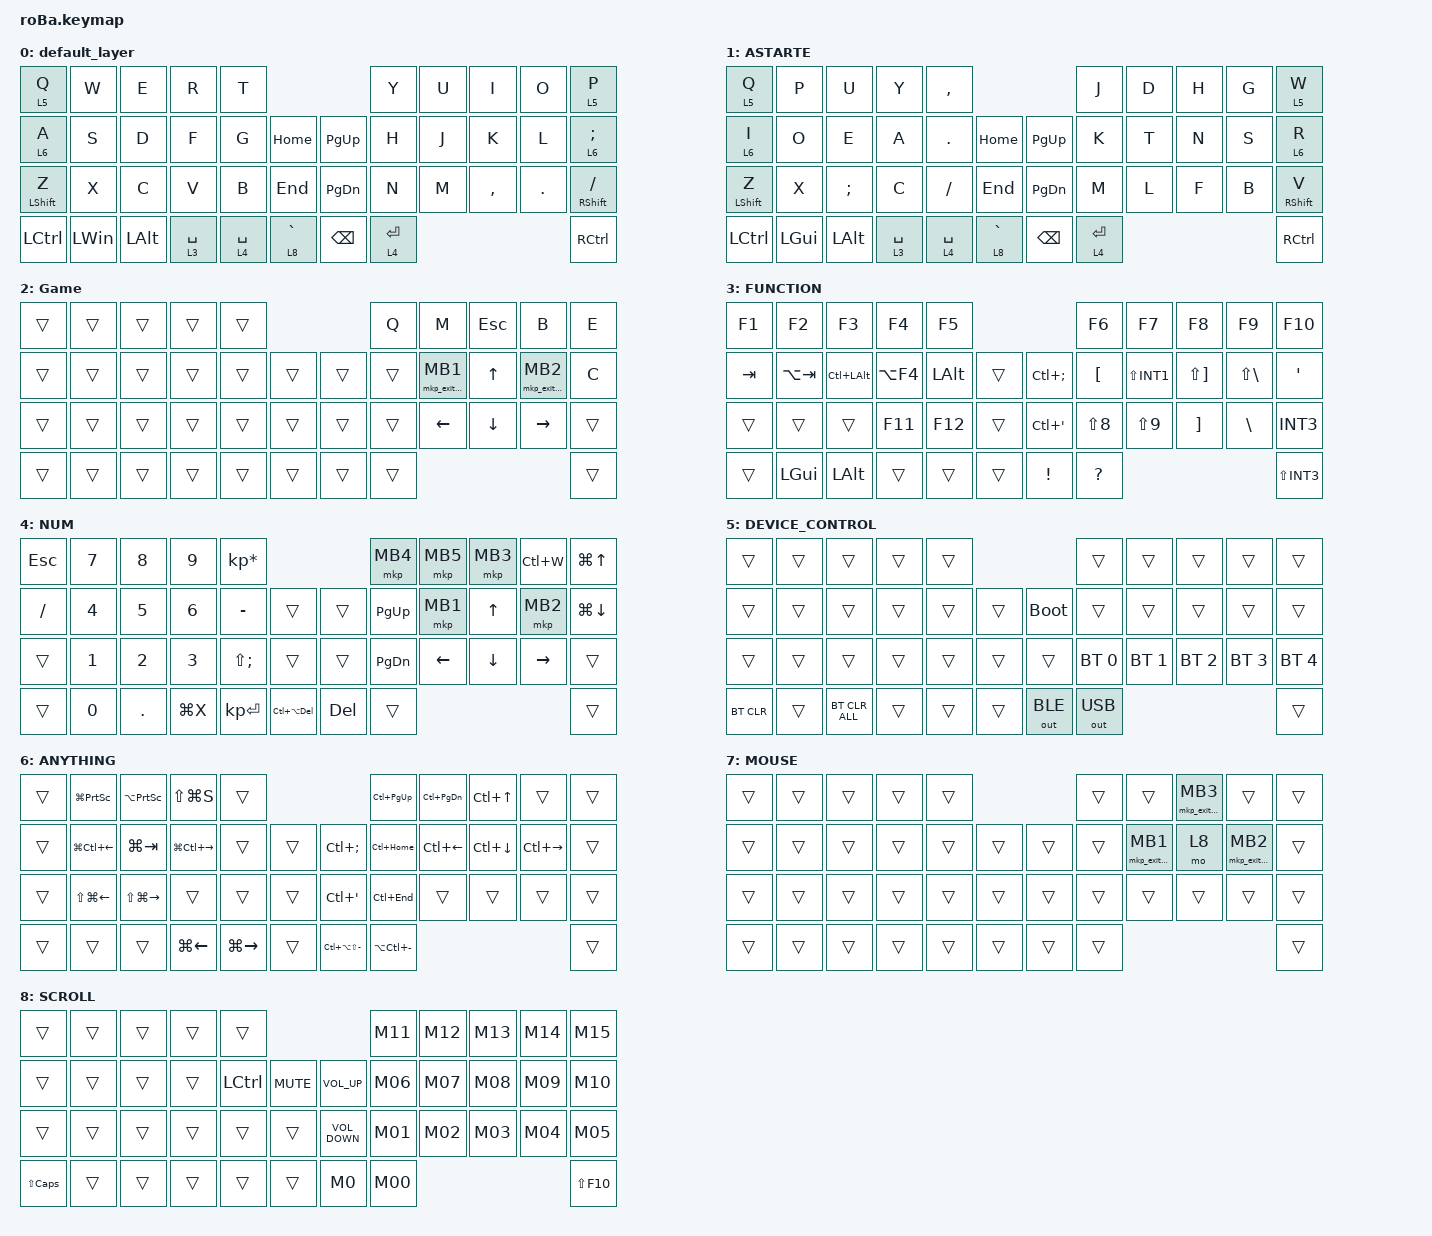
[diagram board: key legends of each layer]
#include <behaviors.dtsi>
#include <dt-bindings/zmk/bt.h>
#include <dt-bindings/zmk/keys.h>
#include <dt-bindings/zmk/outputs.h>
#include <dt-bindings/zmk/pointing.h>

#define ZMK_MOUSE_DEFAULT_SCRL_VAL 100

&sl { release-after-ms = <180>; }; // ダブルクリックに必要な時間を設定
&mt {
    flavor = "balanced";
    quick-tap-ms = <0>;
};

&trackball {
    automouse-layer = <7>;
    scroll-layers = <8>;

    // arrows {
    //     layers = <3>;
    //     bindings =
    //         <&kp RIGHT_ARROW>,
    //         <&kp LEFT_ARROW>,
    //         <&kp UP_ARROW>,
    //         <&kp DOWN_ARROW>;
    //     tick = <10>;
    //     wait-ms = <5>;
    //     tap-ms = <5>;
    // };
};

/ {
    combos {
        compatible = "zmk,combos";

        Copy {
            bindings = <&kp LC(C)>;
            key-positions = <30 31>;
        };

        Paste {
            bindings = <&kp LC(V)>;
            key-positions = <31 32>;
        };

        Cut {
            bindings = <&kp LC(X)>;
            key-positions = <30 32>;
        };

        Save {
            bindings = <&kp LC(S)>;
            key-positions = <11 12>;
        };

        Find {
            bindings = <&kp LC(F)>;
            key-positions = <12 13>;
        };

        Undo {
            bindings = <&kp LC(Z)>;
            key-positions = <23 24>;
        };

        Redo {
            bindings = <&kp LC(Y)>;
            key-positions = <24 25>;
        };

        Tilde {
            bindings = <&kp LS(EQUAL)>;
            key-positions = <6 7>;
        };

        Minus {
            bindings = <&kp MINUS>;
            key-positions = <7 8>;
        };

        Explorer {
            bindings = <&kp LG(E)>;
            key-positions = <2 13>;
        };

        Esc {
            bindings = <&kp ESCAPE>;
            key-positions = <11 13>;
        };

        tog_ASTARTE {
            bindings = <&tog 1>;
            key-positions = <34 42>;
        };

        Clipboard {
            bindings = <&kp LG(V)>;
            key-positions = <30 31 32>;
        };

        tog_Game {
            bindings = <&tog 2>;
            key-positions = <35 42>;
        };

        Back {
            bindings = <&kp LA(LEFT_ARROW)>;
            key-positions = <18 19>;
        };

        Forward {
            bindings = <&kp LA(RIGHT_ARROW)>;
            key-positions = <19 20>;
        };
    };

    macros {
        to_layer_0: to_layer_0 {
            compatible = "zmk,behavior-macro-one-param";
            #binding-cells = <1>;
            bindings = <&to 0 &macro_param_1to1 &kp MACRO_PLACEHOLDER>;
            label = "TO_LAYER_0";
        };

        M0: M0 {
            compatible = "zmk,behavior-macro";
            #binding-cells = <0>;
            bindings = <&none>;
            label = "M0";
        };

        M00: M00 {
            compatible = "zmk,behavior-macro";
            #binding-cells = <0>;
            bindings = <&none>;
            label = "M00";
        };

        M01: M01 {
            compatible = "zmk,behavior-macro";
            #binding-cells = <0>;
            bindings = <&kp LS(A) &kp V &kp E &kp N &kp G &kp E &kp D &kp N4 &kp N8 &kp LS(F) &kp O &kp L &kp D &kp ENTER>;
            label = "M01";
        };

        M02: M02 {
            compatible = "zmk,behavior-macro";
            #binding-cells = <0>;
            bindings = <&kp LS(A) &kp V &kp E &kp N &kp G &kp E &kp D &kp N9 &kp N5 &kp LS(F) &kp O &kp L &kp D &kp ENTER>;
            label = "M02";
        };

        M03: M03 {
            compatible = "zmk,behavior-macro";
            #binding-cells = <0>;
            bindings = <&kp LS(A) &kp V &kp E &kp N &kp G &kp E &kp D &kp N1 &kp LS(F) &kp O &kp L &kp D &kp ENTER>;
            label = "M03";
        };

        M04: M04 {
            compatible = "zmk,behavior-macro";
            #binding-cells = <0>;
            bindings = <&kp LS(A) &kp V &kp E &kp N &kp G &kp E &kp D &kp N2 &kp LS(F) &kp O &kp L &kp D &kp ENTER>;
            label = "M04";
        };

        M05: M05 {
            compatible = "zmk,behavior-macro";
            #binding-cells = <0>;
            bindings = <&kp LS(A) &kp V &kp E &kp N &kp G &kp E &kp D &kp N3 &kp LS(F) &kp O &kp L &kp D &kp RET>;
            label = "M05";
        };

        M06: M06 {
            compatible = "zmk,behavior-macro";
            #binding-cells = <0>;
            bindings = <&kp LS(K) &kp LS(D) &kp E &kp V &kp LEFT_BRACKET &kp N2 &kp N3 &kp N1 &kp N0 &kp ENTER>;
            label = "M06";
        };

        M07: M07 {
            compatible = "zmk,behavior-macro";
            #binding-cells = <0>;
            bindings = <&kp LS(M) &kp C &kp O &kp N2 &kp N0 &kp N2 &kp N3 &kp N1 &kp N0 &kp EXCL &kp ENTER>;
            label = "M07";
        };

        M08: M08 {
            compatible = "zmk,behavior-macro";
            #binding-cells = <0>;
            bindings = <&kp LS(D) &kp T &kp C &kp N2 &kp K &kp A &kp N &kp P &kp O &kp LS(INTERNATIONAL_1) &kp N2 &kp N0 &kp N2 &kp N4 &kp LS(INTERNATIONAL_1) &kp EXCL &kp POUND &kp ENTER>;
            label = "M08";
        };

        M09: M09 {
            compatible = "zmk,behavior-macro";
            #binding-cells = <0>;
            bindings = <&none>;
            label = "M09";
        };

        M10: M10 {
            compatible = "zmk,behavior-macro";
            #binding-cells = <0>;
            bindings = <&kp LS(K) &kp A &kp M &kp P &kp O &kp S &kp O &kp L &kp N2 &kp N0 &kp N1 &kp N7 &kp ENTER>;
            label = "M10";
        };

        M11: M11 {
            compatible = "zmk,behavior-macro";
            #binding-cells = <0>;
            bindings = <&kp LS(A) &kp V &kp E &kp N &kp G &kp E &kp D &kp N1 &kp LS(F) &kp O &kp L &kp D &kp LEFT_BRACKET>;
            label = "M11";
        };

        M12: M12 {
            compatible = "zmk,behavior-macro";
            #binding-cells = <0>;
            bindings = <&kp LS(A) &kp V &kp E &kp N &kp G &kp E &kp D &kp N2 &kp LS(F) &kp O &kp L &kp D &kp LEFT_BRACKET>;
            label = "M12";
        };

        M13: M13 {
            compatible = "zmk,behavior-macro";
            #binding-cells = <0>;
            bindings = <&none>;
            label = "M13";
        };

        M14: M14 {
            compatible = "zmk,behavior-macro";
            #binding-cells = <0>;
            bindings = <&none>;
            label = "M14";
        };

        M15: M15 {
            compatible = "zmk,behavior-macro";
            #binding-cells = <0>;
            bindings = <&kp LS(D) &kp LS(G) &kp KP_ASTERISK &kp K &kp LS(SEMICOLON) &kp N &kp N4 &kp C &kp W &kp N4 &kp LS(R) &kp LS(D)>;
            label = "M15";
        };

        mkp_exit_AML: mkp_exit_AML {
            compatible = "zmk,behavior-macro-one-param";
            #binding-cells = <1>;
            bindings =
                <&macro_press>,
                <&macro_param_1to1 &mkp MACRO_PLACEHOLDER>,
                <&macro_pause_for_release>,
                <&macro_release>,
                <&macro_param_1to1 &mkp MACRO_PLACEHOLDER>,
                <&macro_tap>,
                <&sl 7>;

            label = "MKP_EXIT_AML";
        };
    };

    behaviors {
        lt_to_layer_0: lt_to_layer_0 {
            compatible = "zmk,behavior-hold-tap";
            label = "LAYER_TAP_TO_0";
            bindings = <&mo>, <&to_layer_0>;

            #binding-cells = <2>;
            tapping-term-ms = <200>;
        };
    };

    keymap {
        compatible = "zmk,keymap";

        default_layer {
            bindings = <
&lt 5 Q           &kp W         &kp E         &kp R        &kp T                                        &kp Y        &kp U  &kp I      &kp O    &lt 5 P
&lt 6 A           &kp S         &kp D         &kp F        &kp G        &kp HOME         &kp PAGE_UP    &kp H        &kp J  &kp K      &kp L    &lt 6 SEMICOLON
&mt LEFT_SHIFT Z  &kp X         &kp C         &kp V        &kp B        &kp END          &kp PAGE_DOWN  &kp N        &kp M  &kp COMMA  &kp DOT  &mt RIGHT_SHIFT SLASH
&kp LCTRL         &kp LEFT_WIN  &kp LEFT_ALT  &lt 3 SPACE  &lt 4 SPACE  &lt 8 GRAVE      &kp BACKSPACE  &lt 4 ENTER                             &kp RCTRL
            >;
        };

        ASTARTE {
            bindings = <
&lt 5 Q           &kp P         &kp U          &kp Y        &kp COMMA                                    &kp J        &kp D  &kp H  &kp G  &lt 5 W
&lt 6 I           &kp O         &kp E          &kp A        &kp PERIOD   &kp HOME         &kp PAGE_UP    &kp K        &kp T  &kp N  &kp S  &lt 6 R
&mt LEFT_SHIFT Z  &kp X         &kp SEMICOLON  &kp C        &kp SLASH    &kp END          &kp PAGE_DOWN  &kp M        &kp L  &kp F  &kp B  &mt RIGHT_SHIFT V
&kp LCTRL         &kp LEFT_GUI  &kp LEFT_ALT   &lt 3 SPACE  &lt 4 SPACE  &lt 8 GRAVE      &kp BACKSPACE  &lt 4 ENTER                       &kp RCTRL
            >;
        };

        Game {
            bindings = <
&trans  &trans  &trans  &trans  &trans                      &kp Q   &kp M              &kp ESCAPE      &kp B              &kp E
&trans  &trans  &trans  &trans  &trans  &trans      &trans  &trans  &mkp_exit_AML MB1  &kp UP_ARROW    &mkp_exit_AML MB2  &kp C
&trans  &trans  &trans  &trans  &trans  &trans      &trans  &trans  &kp LEFT_ARROW     &kp DOWN_ARROW  &kp RIGHT_ARROW    &trans
&trans  &trans  &trans  &trans  &trans  &trans      &trans  &trans                                                        &trans
            >;
        };

        FUNCTION {
            bindings = <
&kp F1   &kp F2        &kp F3            &kp F4      &kp F5                                          &kp F6            &kp F7        &kp F8                 &kp F9             &kp F10
&kp TAB  &kp LA(TAB)   &kp LC(LEFT_ALT)  &kp LA(F4)  &kp LEFT_ALT  &trans      &kp LC(SEMICOLON)     &kp LEFT_BRACKET  &kp LS(INT1)  &kp LS(RIGHT_BRACKET)  &kp LS(BACKSLASH)  &kp SINGLE_QUOTE
&trans   &trans        &trans            &kp F11     &kp F12       &trans      &kp LC(SINGLE_QUOTE)  &kp LS(N8)        &kp LS(N9)    &kp RIGHT_BRACKET      &kp BACKSLASH      &kp INT3
&trans   &kp LEFT_GUI  &kp LEFT_ALT      &trans      &trans        &trans      &kp EXCLAMATION       &kp QUESTION                                                              &kp LS(INT3)
            >;
        };

        NUM {
            bindings = <
&kp ESCAPE  &kp NUMBER_7  &kp NUMBER_8  &kp NUMBER_9  &kp KP_ASTERISK                                        &mkp MB4       &mkp MB5        &mkp MB3        &kp LC(W)        &kp LG(UP_ARROW)
&kp SLASH   &kp NUMBER_4  &kp NUMBER_5  &kp NUMBER_6  &kp MINUS          &trans                  &trans      &kp PAGE_UP    &mkp MB1        &kp UP_ARROW    &mkp MB2         &kp LG(DOWN_ARROW)
&trans      &kp NUMBER_1  &kp NUMBER_2  &kp NUMBER_3  &kp LS(SEMICOLON)  &trans                  &trans      &kp PAGE_DOWN  &kp LEFT_ARROW  &kp DOWN_ARROW  &kp RIGHT_ARROW  &trans
&trans      &kp NUMBER_0  &kp DOT       &kp LG(X)     &kp KP_ENTER       &kp LC(LA(DELETE))      &kp DELETE  &trans                                                          &trans
            >;
        };

        DEVICE_CONTROL {
            bindings = <
&trans      &trans  &trans          &trans  &trans                            &trans        &trans        &trans        &trans        &trans
&trans      &trans  &trans          &trans  &trans  &trans      &bootloader   &trans        &trans        &trans        &trans        &trans
&trans      &trans  &trans          &trans  &trans  &trans      &trans        &bt BT_SEL 0  &bt BT_SEL 1  &bt BT_SEL 2  &bt BT_SEL 3  &bt BT_SEL 4
&bt BT_CLR  &trans  &bt BT_CLR_ALL  &trans  &trans  &trans      &out OUT_BLE  &out OUT_USB                                            &trans
            >;
        };

        ANYTHING {
            bindings = <
&trans  &kp LG(PRINTSCREEN)     &kp LA(PRINTSCREEN)      &kp LS(LG(S))      &trans                                            &kp LC(PAGE_UP)    &kp LC(PAGE_DOWN)   &kp LC(UP_ARROW)    &trans               &trans
&trans  &kp LG(LC(LEFT))        &kp LG(TAB)              &kp LG(LC(RIGHT))  &trans         &trans      &kp LC(SEMICOLON)      &kp LC(HOME)       &kp LC(LEFT_ARROW)  &kp LC(DOWN_ARROW)  &kp LC(RIGHT_ARROW)  &trans
&trans  &kp LS(LG(LEFT_ARROW))  &kp LS(LG(RIGHT_ARROW))  &trans             &trans         &trans      &kp LC(SINGLE_QUOTE)   &kp LC(END)        &trans              &trans              &trans               &trans
&trans  &trans                  &trans                   &kp LG(LEFT)       &kp LG(RIGHT)  &trans      &kp LC(LA(LS(MINUS)))  &kp LA(LC(MINUS))                                                               &trans
            >;
        };

        MOUSE {
            bindings = <
&trans  &trans  &trans  &trans  &trans                      &trans  &trans             &mkp_exit_AML MB3  &trans             &trans
&trans  &trans  &trans  &trans  &trans  &trans      &trans  &trans  &mkp_exit_AML MB1  &mo 8              &mkp_exit_AML MB2  &trans
&trans  &trans  &trans  &trans  &trans  &trans      &trans  &trans  &trans             &trans             &trans             &trans
&trans  &trans  &trans  &trans  &trans  &trans      &trans  &trans                                                           &trans
            >;
        };

        SCROLL {
            bindings = <
&trans            &trans  &trans  &trans  &trans                                        &M11  &M12  &M13  &M14  &M15
&trans            &trans  &trans  &trans  &kp LCTRL  &kp C_MUTE      &kp C_VOLUME_UP    &M06  &M07  &M08  &M09  &M10
&trans            &trans  &trans  &trans  &trans     &trans          &kp C_VOLUME_DOWN  &M01  &M02  &M03  &M04  &M05
&kp LS(CAPSLOCK)  &trans  &trans  &trans  &trans     &trans          &M0                &M00                    &kp LS(F10)
            >;
        };
    };
};
